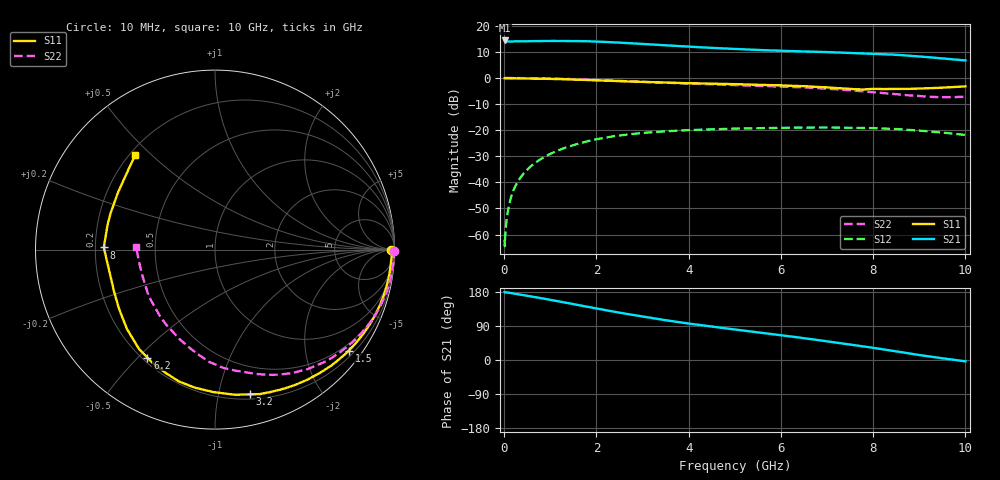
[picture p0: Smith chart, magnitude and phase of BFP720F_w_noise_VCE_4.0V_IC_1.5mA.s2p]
! Infineon Technologies  Discrete & RF Semiconductors
! BFP720F
! VCE =  4.0 V,  IC =  1.5 mA
! Common Emitter S-Parameters:  Jan 2016
# GHz  S  MA  R  50
!  f  S11  S21  S12  S22
! GHz  MAG  ANG  MAG  ANG  MAG  ANG  MAG  ANG
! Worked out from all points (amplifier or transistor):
!   233 points, 10 MHz to 10 GHz, reference 50 ohm
!   highest |S21| = 14.4 dB at 10 MHz (marker M1)
!   |S21| within 3 dB of that: start of sweep to 4.676 GHz
!   unconditionally stable (mu >= 1): nowhere
!   at 200 MHz: K = 0.05, MSG = 28.6 dB, |S12| = -43.1 dB
!   at 1.74 GHz: K = 0.13, MSG = 19.3 dB, |S12| = -24.5 dB
!   at 10 GHz: K = 0.99, MSG = 14.3 dB, |S12| = -21.8 dB
!   lowest NFmin = 0.44 dB at 450 MHz
!   S11 on the Smith chart (normalised r, x): 10 MHz: open; 1.5 GHz: 0.33, -2.95; 3.2 GHz: 0.24, -1.24; 6.2 GHz: 0.22, -0.53; 8 GHz: 0.23, +0.01; 10 GHz: 0.22, +0.45
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0.01  0.9822 -0.2  5.23 179.4  0.0008 -11.2  0.9979 -0.3
0.015  0.9839 -0.3  5.095 178.7  0.0006 31.8  0.9989 -0.7
0.02  0.9856 -0.4  4.961 178.0  0.0008 74.8  1 -1.0
0.055  0.9855 -1.4  4.998 178.5  0.002 78.0  0.9972 -1.0
0.135  0.9842 -3.2  5.018 177.0  0.0047 84.9  0.998 -2.3
0.36  0.9804 -8.5  5.043 172.4  0.0126 82.7  0.9941 -6.3
0.92  0.9636 -22.3  5.12 160.6  0.0323 73.0  0.9795 -16.2
1.5  0.9342 -37.0  5.075 147.6  0.0519 61.7  0.9492 -26.8
1.68  0.9222 -41.8  5.091 143.3  0.0576 58.1  0.9373 -30.1
2.38  0.8771 -58.9  4.806 127.5  0.0766 44.1  0.8877 -42.7
2.8  0.8524 -68.4  4.593 118.6  0.0849 36.3  0.8555 -49.1
3.2  0.8297 -76.4  4.373 111.0  0.091 29.5  0.8294 -54.4
3.4  0.8198 -80.3  4.279 107.0  0.0938 26.3  0.8166 -56.8
4  0.7939 -90.6  3.988 96.2  0.1004 17.6  0.7821 -63.0
5.1  0.7565 -106.6  3.566 79.0  0.1076 3.7  0.7264 -72.2
6.2  0.71 -122.0  3.275 62.3  0.1116 -9.1  0.6748 -82.4
6.8  0.6723 -133.6  3.163 52.7  0.1125 -16.3  0.6392 -90.0
7.4  0.6272 -148.8  3.034 42.6  0.1116 -23.7  0.5897 -99.5
8  0.6198 178.9  2.915 32.2  0.1096 -31.4  0.5366 -111.6
8.4  0.6144 166.8  2.807 24.7  0.1063 -37.0  0.4981 -123.3
9  0.6271 149.6  2.592 13.1  0.0984 -45.2  0.4516 -144.8
10  0.6889 130.2  2.167 -3.6  0.081 -55.4  0.4399 178.3
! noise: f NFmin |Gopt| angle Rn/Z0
0.45  0.44  0.75  5  0.37
0.9  0.55  0.75  12  0.34
1.8  0.57  0.74  25  0.28
2.4  0.59  0.74  31  0.27
5.5  0.96  0.53  91  0.17
10  1.49  0.36  -141  0.14
